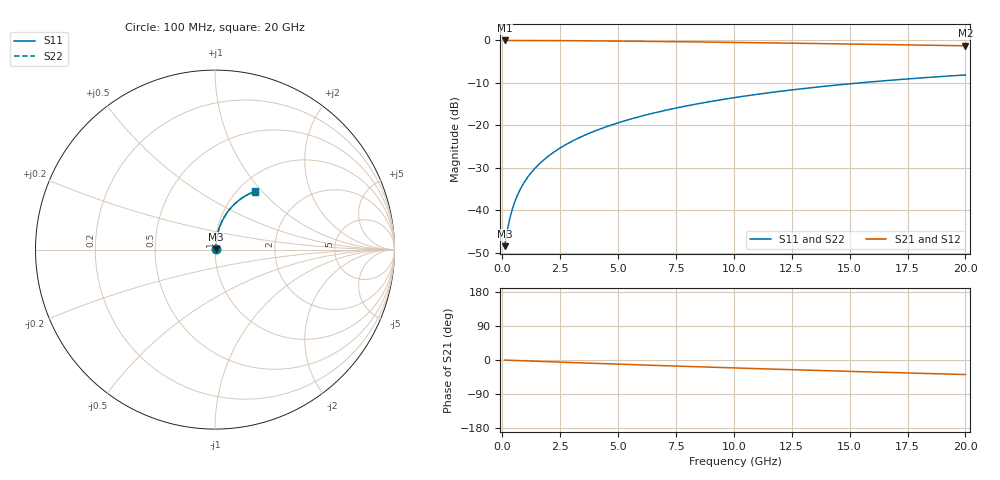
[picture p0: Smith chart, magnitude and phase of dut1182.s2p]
! Touchstone file exported from HFSS 2024.1.0
!  File:  C:/UserFiles/LocalFiles/RDL_TSV_Batchsim/temp_RDL_bottom_1182_1780057326.aedt
!  Generated:  08:24:07 PM May 29, 2026
!  Design:  RDL_bottom
!  Project:  temp_RDL_bottom_1182_1780057326
!  Setup:  Setup1
!  Solution:  Sweep
! Variables:
!  dtsv = 10.80580581um
!  hbump = 3um
!  htsv = 54.19um
!  ldown = 552.3um
!  lrdl = 100um
!  p = 40
!  p1 = 40.98um
!  rhole = 1um
!  t = 450um
!  tdown = 4.66um
!  trdl = 3.915915916um
!  wdown = 14.26um
!  wrdl = 20um
# GHz S MA R 50.000000
! Terminal data exported
! Port[1] = RDL1_T1
! Port[2] = RDL1_T2
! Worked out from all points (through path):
!   200 points, 100 MHz to 20 GHz, reference 50 ohm
!   highest |S21| = -0.03 dB at 100 MHz (marker M1); lowest = -1.3 dB at 20 GHz (marker M2)
!   group delay of S21, straight-line fit = 5.31 ps
!   lowest |S11| = -48.4 dB at 100 MHz (marker M3), VSWR 1.01, Z = 50.3 + j0.23 ohm
!   |S11| at or under -10 dB: start of sweep to 15.44 GHz
!   |S22| runs from -48.4 to -8.1 dB; largest |S21 - S12| = 3.1e-15
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0.1  0.003798 36.9  0.997 -0.2  0.997 -0.2  0.003798 36.9
! Gamma 0 0 0 0
! Port Impedance 50 0 50 0
0.2  0.005505 55.9  0.9969 -0.5  0.9969 -0.5  0.005505 55.9
0.3  0.00752 65.0  0.9967 -0.7  0.9967 -0.7  0.00752 65.1
0.4  0.009637 70.1  0.9966 -0.9  0.9966 -0.9  0.009637 70.1
0.5  0.01179 73.1  0.9964 -1.1  0.9964 -1.1  0.01179 73.2
0.6  0.01395 75.2  0.9963 -1.4  0.9963 -1.4  0.01395 75.2
0.8  0.01825 77.7  0.996 -1.8  0.996 -1.8  0.01826 77.7
1.1  0.02465 79.7  0.9956 -2.5  0.9956 -2.5  0.02466 79.7
1.5  0.03311 80.9  0.9948 -3.4  0.9948 -3.4  0.03313 81.0
1.8  0.03944 81.4  0.9941 -4.0  0.9941 -4.0  0.03945 81.4
2.1  0.04576 81.7  0.9932 -4.7  0.9932 -4.7  0.04578 81.7
2.7  0.05843 81.7  0.9913 -6.0  0.9913 -6.0  0.05844 81.7
3.5  0.07536 81.3  0.988 -7.8  0.988 -7.8  0.07536 81.3
4.2  0.0902 80.7  0.9847 -9.3  0.9847 -9.3  0.09018 80.6
5  0.1072 79.8  0.9804 -11.0  0.9804 -11.0  0.1071 79.7
5.9  0.1262 78.6  0.9751 -12.8  0.9751 -12.8  0.1262 78.6
6.8  0.1452 77.3  0.9693 -14.7  0.9693 -14.7  0.1451 77.3
8.4  0.1787 74.9  0.9581 -17.8  0.9581 -17.8  0.1786 74.8
10.1  0.2136 72.1  0.9454 -21.1  0.9454 -21.1  0.2135 72.1
13.4  0.2786 66.6  0.9189 -27.2  0.9189 -27.2  0.2784 66.6
16.7  0.3382 61.1  0.891 -32.9  0.891 -32.9  0.338 61.0
20  0.3916 55.8  0.8626 -38.4  0.8626 -38.4  0.3913 55.7
